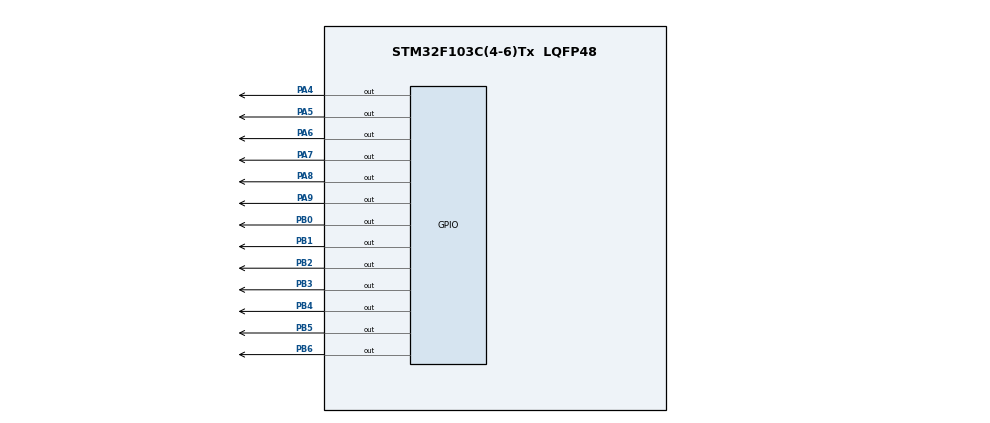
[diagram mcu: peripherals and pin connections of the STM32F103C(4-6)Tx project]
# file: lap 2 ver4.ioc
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Mcu.Family=STM32F1
Mcu.Name=STM32F103C(4-6)Tx
Mcu.Package=LQFP48
NVIC.PriorityGroup=NVIC_PRIORITYGROUP_4
NVIC.TIM2_IRQn=true\:0\:0\:false\:false\:true\:true\:true
PA4.Signal=GPIO_Output
PA5.Signal=GPIO_Output
PA6.Signal=GPIO_Output
PA7.Signal=GPIO_Output
PA8.Signal=GPIO_Output
PA9.Signal=GPIO_Output
PB0.Signal=GPIO_Output
PB1.Signal=GPIO_Output
PB2.Signal=GPIO_Output
PB3.Signal=GPIO_Output
PB4.Signal=GPIO_Output
PB5.Signal=GPIO_Output
PB6.Signal=GPIO_Output
ProjectManager.HeapSize=0x200
ProjectManager.StackSize=0x400
ProjectManager.TargetToolchain=STM32CubeIDE
RCC.APB1Freq_Value=8000000
RCC.APB2Freq_Value=8000000
TIM2.Period=9
TIM2.Prescaler=7999
VP_SYS_VS_ND.Mode=No_Debug
VP_TIM2_VS_ClockSourceINT.Mode=Internal
board=custom

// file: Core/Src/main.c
/* USER CODE BEGIN Header */
/**
  ******************************************************************************
  * @file           : main.c
  * @brief          : Main program body
  ******************************************************************************
  * @attention
  *
  * <h2><center>&copy; Copyright (c) 2021 STMicroelectronics.
  * All rights reserved.</center></h2>
  *
  * This software component is licensed by ST under BSD 3-Clause license,
  * the "License"; You may not use this file except in compliance with the
  * License. You may obtain a copy of the License at:
  *                        opensource.org/licenses/BSD-3-Clause
  *
  ******************************************************************************
  */
/* USER CODE END Header */
#include "main.h"

TIM_HandleTypeDef htim2;

void SystemClock_Config(void);
static void MX_GPIO_Init(void);
static void MX_TIM2_Init(void);

/* USER CODE BEGIN 0 */
void display7SEG(int num){
	switch(num){
	case(0):
			HAL_GPIO_WritePin(GPIOB, GPIO_PIN_0, RESET);
			HAL_GPIO_WritePin(GPIOB, GPIO_PIN_1, RESET);
			HAL_GPIO_WritePin(GPIOB, GPIO_PIN_2, RESET);
			HAL_GPIO_WritePin(GPIOB, GPIO_PIN_3, RESET);
			HAL_GPIO_WritePin(GPIOB, GPIO_PIN_4, RESET);
			HAL_GPIO_WritePin(GPIOB, GPIO_PIN_5, RESET);
			HAL_GPIO_WritePin(GPIOB, GPIO_PIN_6, SET);
			break;
	case(1):
			HAL_GPIO_WritePin(GPIOB, GPIO_PIN_0, SET);
			HAL_GPIO_WritePin(GPIOB, GPIO_PIN_1, RESET);
			HAL_GPIO_WritePin(GPIOB, GPIO_PIN_2, RESET);
			HAL_GPIO_WritePin(GPIOB, GPIO_PIN_3, SET);
			HAL_GPIO_WritePin(GPIOB, GPIO_PIN_4, SET);
			HAL_GPIO_WritePin(GPIOB, GPIO_PIN_5, SET);
			HAL_GPIO_WritePin(GPIOB, GPIO_PIN_6, SET);
			break;
	case(2):
			HAL_GPIO_WritePin(GPIOB, GPIO_PIN_0, RESET);
			HAL_GPIO_WritePin(GPIOB, GPIO_PIN_1, RESET);
			HAL_GPIO_WritePin(GPIOB, GPIO_PIN_2, SET);
			HAL_GPIO_WritePin(GPIOB, GPIO_PIN_3, RESET);
			HAL_GPIO_WritePin(GPIOB, GPIO_PIN_4, RESET);
			HAL_GPIO_WritePin(GPIOB, GPIO_PIN_5, SET);
			HAL_GPIO_WritePin(GPIOB, GPIO_PIN_6, RESET);
			break;
	case(3):
			HAL_GPIO_WritePin(GPIOB, GPIO_PIN_0, RESET);
			HAL_GPIO_WritePin(GPIOB, GPIO_PIN_1, RESET);
			HAL_GPIO_WritePin(GPIOB, GPIO_PIN_2, RESET);
			HAL_GPIO_WritePin(GPIOB, GPIO_PIN_3, RESET);
			HAL_GPIO_WritePin(GPIOB, GPIO_PIN_4, SET);
			HAL_GPIO_WritePin(GPIOB, GPIO_PIN_5, SET);
			HAL_GPIO_WritePin(GPIOB, GPIO_PIN_6, RESET);
			break;
	case(4):
			HAL_GPIO_WritePin(GPIOB, GPIO_PIN_0, SET);
			HAL_GPIO_WritePin(GPIOB, GPIO_PIN_1, RESET);
			HAL_GPIO_WritePin(GPIOB, GPIO_PIN_2, RESET);
			HAL_GPIO_WritePin(GPIOB, GPIO_PIN_3, SET);
			HAL_GPIO_WritePin(GPIOB, GPIO_PIN_4, SET);
			HAL_GPIO_WritePin(GPIOB, GPIO_PIN_5, RESET);
			HAL_GPIO_WritePin(GPIOB, GPIO_PIN_6, RESET);
			break;
	case(5):
			HAL_GPIO_WritePin(GPIOB, GPIO_PIN_0, RESET);
			HAL_GPIO_WritePin(GPIOB, GPIO_PIN_1, SET);
			HAL_GPIO_WritePin(GPIOB, GPIO_PIN_2, RESET);
			HAL_GPIO_WritePin(GPIOB, GPIO_PIN_3, RESET);
			HAL_GPIO_WritePin(GPIOB, GPIO_PIN_4, SET);
			HAL_GPIO_WritePin(GPIOB, GPIO_PIN_5, RESET);
			HAL_GPIO_WritePin(GPIOB, GPIO_PIN_6, RESET);
			break;
	case(6):
			HAL_GPIO_WritePin(GPIOB, GPIO_PIN_0, RESET);
			HAL_GPIO_WritePin(GPIOB, GPIO_PIN_1, SET);
			HAL_GPIO_WritePin(GPIOB, GPIO_PIN_2, RESET);
			HAL_GPIO_WritePin(GPIOB, GPIO_PIN_3, RESET);
			HAL_GPIO_WritePin(GPIOB, GPIO_PIN_4, RESET);
			HAL_GPIO_WritePin(GPIOB, GPIO_PIN_5, RESET);
			HAL_GPIO_WritePin(GPIOB, GPIO_PIN_6, RESET);
			break;
	case(7):
			HAL_GPIO_WritePin(GPIOB, GPIO_PIN_0, RESET);
			HAL_GPIO_WritePin(GPIOB, GPIO_PIN_1, RESET);
			HAL_GPIO_WritePin(GPIOB, GPIO_PIN_2, RESET);
			HAL_GPIO_WritePin(GPIOB, GPIO_PIN_3, SET);
			HAL_GPIO_WritePin(GPIOB, GPIO_PIN_4, SET);
			HAL_GPIO_WritePin(GPIOB, GPIO_PIN_5, SET);
			HAL_GPIO_WritePin(GPIOB, GPIO_PIN_6, SET);
			break;
	case(8):
			HAL_GPIO_WritePin(GPIOB, GPIO_PIN_0, RESET);
			HAL_GPIO_WritePin(GPIOB, GPIO_PIN_1, RESET);
			HAL_GPIO_WritePin(GPIOB, GPIO_PIN_2, RESET);
			HAL_GPIO_WritePin(GPIOB, GPIO_PIN_3, RESET);
			HAL_GPIO_WritePin(GPIOB, GPIO_PIN_4, RESET);
			HAL_GPIO_WritePin(GPIOB, GPIO_PIN_5, RESET);
			HAL_GPIO_WritePin(GPIOB, GPIO_PIN_6, RESET);
			break;
	case(9):
			HAL_GPIO_WritePin(GPIOB, GPIO_PIN_0, RESET);
			HAL_GPIO_WritePin(GPIOB, GPIO_PIN_1, RESET);
			HAL_GPIO_WritePin(GPIOB, GPIO_PIN_2, RESET);
			HAL_GPIO_WritePin(GPIOB, GPIO_PIN_3, RESET);
			HAL_GPIO_WritePin(GPIOB, GPIO_PIN_4, SET);
			HAL_GPIO_WritePin(GPIOB, GPIO_PIN_5, RESET);
			HAL_GPIO_WritePin(GPIOB, GPIO_PIN_6, RESET);
			break;
	default:
			HAL_GPIO_WritePin(GPIOB, GPIO_PIN_0, SET);
			HAL_GPIO_WritePin(GPIOB, GPIO_PIN_1, SET);
			HAL_GPIO_WritePin(GPIOB, GPIO_PIN_2, SET);
			HAL_GPIO_WritePin(GPIOB, GPIO_PIN_3, SET);
			HAL_GPIO_WritePin(GPIOB, GPIO_PIN_4, SET);
			HAL_GPIO_WritePin(GPIOB, GPIO_PIN_5, SET);
			HAL_GPIO_WritePin(GPIOB, GPIO_PIN_6, SET);
			break;
	}
}

int led_buffer[4] = {1,2,3,0};
void update7SEG(int index){
	int value = led_buffer[index];
	display7SEG(10);	// blank

	switch(index){
	case(0):	// first 7SEG on
			HAL_GPIO_WritePin(GPIOA, GPIO_PIN_6, RESET);
			HAL_GPIO_WritePin(GPIOA, GPIO_PIN_7, SET);
			HAL_GPIO_WritePin(GPIOA, GPIO_PIN_8, SET);
			HAL_GPIO_WritePin(GPIOA, GPIO_PIN_9, SET);
			break;
	case(1):	// second 7SEG on
			HAL_GPIO_WritePin(GPIOA, GPIO_PIN_6, SET);
			HAL_GPIO_WritePin(GPIOA, GPIO_PIN_7, RESET);
			HAL_GPIO_WritePin(GPIOA, GPIO_PIN_8, SET);
			HAL_GPIO_WritePin(GPIOA, GPIO_PIN_9, SET);
			break;
	case(2):	// third 7SEG on
			HAL_GPIO_WritePin(GPIOA, GPIO_PIN_6, SET);
			HAL_GPIO_WritePin(GPIOA, GPIO_PIN_7, SET);
			HAL_GPIO_WritePin(GPIOA, GPIO_PIN_8, RESET);
			HAL_GPIO_WritePin(GPIOA, GPIO_PIN_9, SET);
			break;
	case(3):	// last 7SEG on
			HAL_GPIO_WritePin(GPIOA, GPIO_PIN_6, SET);
			HAL_GPIO_WritePin(GPIOA, GPIO_PIN_7, SET);
			HAL_GPIO_WritePin(GPIOA, GPIO_PIN_8, SET);
			HAL_GPIO_WritePin(GPIOA, GPIO_PIN_9, RESET);
			break;
	default:
			HAL_GPIO_WritePin(GPIOA, GPIO_PIN_6, SET);
			HAL_GPIO_WritePin(GPIOA, GPIO_PIN_7, SET);
			HAL_GPIO_WritePin(GPIOA, GPIO_PIN_8, SET);
			HAL_GPIO_WritePin(GPIOA, GPIO_PIN_9, SET);
			break;
	}

	display7SEG(value);
}

// set begin time
int hour = 15, minute = 8, second = 50;
void updateClockBuffer(){
	led_buffer[0] = hour/10;
	led_buffer[1] = hour%10;

	led_buffer[2] = minute/10;
	led_buffer[3] = minute%10;
}
/* USER CODE END 0 */

int toggle_flag = 0;
int segled_flag = 0;
int index_led = 0;
const int MAX_LED = 4;
int main(void)
{

  /* MCU Configuration--------------------------------------------------------*/

  /* Reset of all peripherals, Initializes the Flash interface and the Systick. */
  HAL_Init();

  /* Configure the system clock */
  SystemClock_Config();

  /* Initialize all configured peripherals */
  MX_GPIO_Init();
  MX_TIM2_Init();
  /* USER CODE BEGIN 2 */
  HAL_TIM_Base_Start_IT(&htim2);
  /* USER CODE END 2 */

  /* Infinite loop */
  while (1)
  {
	  //second++;
	  // do this in callback function

	  if(second >= 6){	//60
		  second = 0;
		  minute++;
	  }
	  if(minute >= 6){	//60
		  minute = 0;
		  hour++;
	  }
	  if(hour >= 24){
		  hour = 0;
	  }
	  updateClockBuffer();

	  // single led (1s)
	  if(toggle_flag == 1){
		  HAL_GPIO_TogglePin(GPIOA, GPIO_PIN_4);
		  toggle_flag = 0;
	  }

	  // 7seg led (0.5s)
	  if(segled_flag == 1){
		  update7SEG(index_led++);
		  if(index_led == MAX_LED) index_led = 0;
		  segled_flag = 0;
	  }

  }
}

void SystemClock_Config(void)
{
  RCC_OscInitTypeDef RCC_OscInitStruct = {0};
  RCC_ClkInitTypeDef RCC_ClkInitStruct = {0};

  /** Initializes the RCC Oscillators according to the specified parameters
  * in the RCC_OscInitTypeDef structure.
  */
  RCC_OscInitStruct.OscillatorType = RCC_OSCILLATORTYPE_HSI;
  RCC_OscInitStruct.HSIState = RCC_HSI_ON;
  RCC_OscInitStruct.HSICalibrationValue = RCC_HSICALIBRATION_DEFAULT;
  RCC_OscInitStruct.PLL.PLLState = RCC_PLL_NONE;
  if (HAL_RCC_OscConfig(&RCC_OscInitStruct) != HAL_OK)
  {
    Error_Handler();
  }
  /** Initializes the CPU, AHB and APB buses clocks
  */
  RCC_ClkInitStruct.ClockType = RCC_CLOCKTYPE_HCLK|RCC_CLOCKTYPE_SYSCLK
                              |RCC_CLOCKTYPE_PCLK1|RCC_CLOCKTYPE_PCLK2;
  RCC_ClkInitStruct.SYSCLKSource = RCC_SYSCLKSOURCE_HSI;
  RCC_ClkInitStruct.AHBCLKDivider = RCC_SYSCLK_DIV1;
  RCC_ClkInitStruct.APB1CLKDivider = RCC_HCLK_DIV1;
  RCC_ClkInitStruct.APB2CLKDivider = RCC_HCLK_DIV1;

  if (HAL_RCC_ClockConfig(&RCC_ClkInitStruct, FLASH_LATENCY_0) != HAL_OK)
  {
    Error_Handler();
  }
}

static void MX_TIM2_Init(void)
{

  TIM_ClockConfigTypeDef sClockSourceConfig = {0};
  TIM_MasterConfigTypeDef sMasterConfig = {0};

  htim2.Instance = TIM2;
  htim2.Init.Prescaler = 7999;
  htim2.Init.CounterMode = TIM_COUNTERMODE_UP;
  htim2.Init.Period = 9;
  htim2.Init.ClockDivision = TIM_CLOCKDIVISION_DIV1;
  htim2.Init.AutoReloadPreload = TIM_AUTORELOAD_PRELOAD_DISABLE;
  if (HAL_TIM_Base_Init(&htim2) != HAL_OK)
  {
    Error_Handler();
  }
  sClockSourceConfig.ClockSource = TIM_CLOCKSOURCE_INTERNAL;
  if (HAL_TIM_ConfigClockSource(&htim2, &sClockSourceConfig) != HAL_OK)
  {
    Error_Handler();
  }
  sMasterConfig.MasterOutputTrigger = TIM_TRGO_RESET;
  sMasterConfig.MasterSlaveMode = TIM_MASTERSLAVEMODE_DISABLE;
  if (HAL_TIMEx_MasterConfigSynchronization(&htim2, &sMasterConfig) != HAL_OK)
  {
    Error_Handler();
  }

}

static void MX_GPIO_Init(void)
{
  GPIO_InitTypeDef GPIO_InitStruct = {0};

  /* GPIO Ports Clock Enable */
  __HAL_RCC_GPIOA_CLK_ENABLE();
  __HAL_RCC_GPIOB_CLK_ENABLE();

  /*Configure GPIO pin Output Level */
  HAL_GPIO_WritePin(GPIOA, GPIO_PIN_4|GPIO_PIN_5|GPIO_PIN_6|GPIO_PIN_7
                          |GPIO_PIN_8|GPIO_PIN_9, GPIO_PIN_RESET);

  /*Configure GPIO pin Output Level */
  HAL_GPIO_WritePin(GPIOB, GPIO_PIN_0|GPIO_PIN_1|GPIO_PIN_2|GPIO_PIN_3
                          |GPIO_PIN_4|GPIO_PIN_5|GPIO_PIN_6, GPIO_PIN_RESET);

  /*Configure GPIO pins : PA4 PA5 PA6 PA7
                           PA8 PA9 */
  GPIO_InitStruct.Pin = GPIO_PIN_4|GPIO_PIN_5|GPIO_PIN_6|GPIO_PIN_7
                          |GPIO_PIN_8|GPIO_PIN_9;
  GPIO_InitStruct.Mode = GPIO_MODE_OUTPUT_PP;
  GPIO_InitStruct.Pull = GPIO_NOPULL;
  GPIO_InitStruct.Speed = GPIO_SPEED_FREQ_LOW;
  HAL_GPIO_Init(GPIOA, &GPIO_InitStruct);

  /*Configure GPIO pins : PB0 PB1 PB2 PB3
                           PB4 PB5 PB6 */
  GPIO_InitStruct.Pin = GPIO_PIN_0|GPIO_PIN_1|GPIO_PIN_2|GPIO_PIN_3
                          |GPIO_PIN_4|GPIO_PIN_5|GPIO_PIN_6;
  GPIO_InitStruct.Mode = GPIO_MODE_OUTPUT_PP;
  GPIO_InitStruct.Pull = GPIO_NOPULL;
  GPIO_InitStruct.Speed = GPIO_SPEED_FREQ_LOW;
  HAL_GPIO_Init(GPIOB, &GPIO_InitStruct);

}

/* USER CODE BEGIN 4 */
int sec_counter = 0;
int counter = 0;
void HAL_TIM_PeriodElapsedCallback(TIM_HandleTypeDef * htim){
	if(counter >= 50){
		counter = 0;
		segled_flag = 1;
	}
	counter ++;

	if(sec_counter >= 100){
		sec_counter = 0;
		second ++;
		toggle_flag = 1;
	}
	sec_counter ++;
}
/* USER CODE END 4 */

void Error_Handler(void)
{
  __disable_irq();
  while (1)
  {
  }
}

/************************ (C) COPYRIGHT STMicroelectronics *****END OF FILE****/
